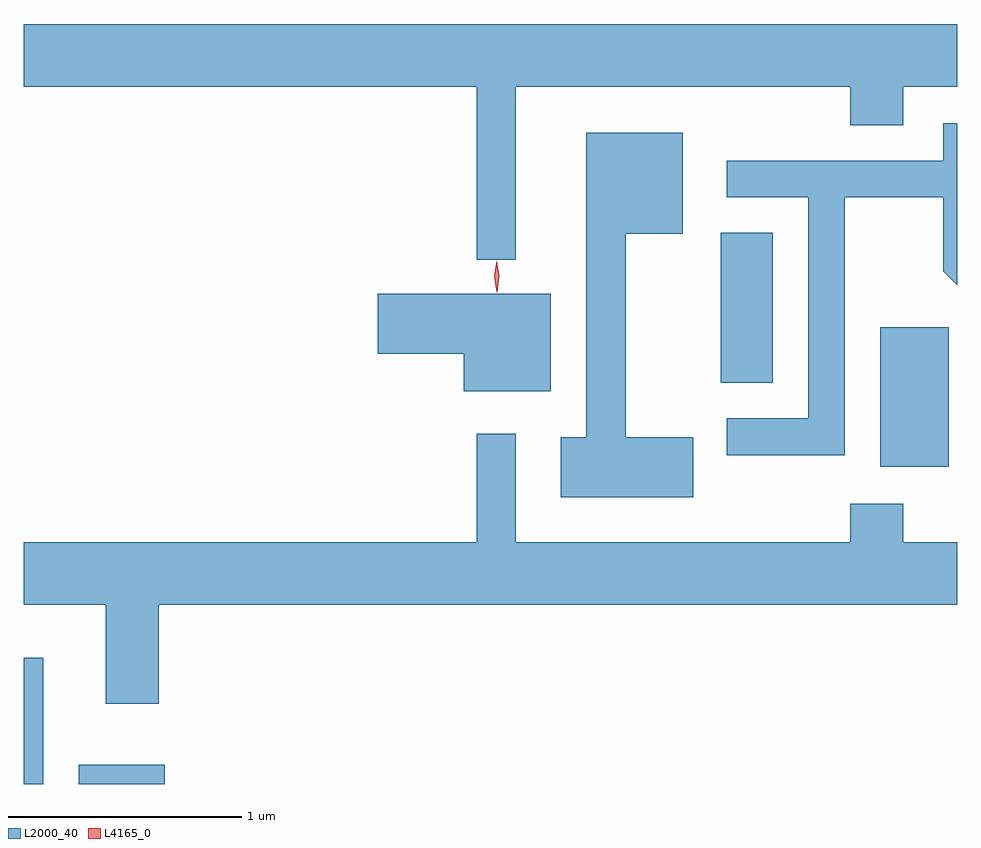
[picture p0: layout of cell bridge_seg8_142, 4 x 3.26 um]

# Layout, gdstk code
import gdstk
lib = gdstk.Library(unit=1e-6, precision=1e-09)
def R(c, l, rs):  # rectangles x0, y0, x1, y1
    for r in rs: c.add(gdstk.rectangle(r[:2], r[2:], *l))
def P(c, l, *ps):  # polygons
    for p in ps: c.add(gdstk.Polygon(p, *l))
L2000_40 = (2000, 40)
L4165_0 = (4165, 0)

bridge_seg8_142 = lib.new_cell('bridge_seg8_142')
R(bridge_seg8_142, L2000_40, [(1789.24,1817.887,1789.324,1818.428), (1789.476,1817.887,1789.844,1817.969), (1792.911,1819.246,1793.204,1819.844), (1792.226,1819.606,1792.449,1820.249)])
P(bridge_seg8_142, L2000_40, [(1791.349,1820.876),(1792.781,1820.876),(1792.781,1820.711),(1793.009,1820.711),(1793.009,1820.876),(1793.24,1820.876),(1793.24,1821.144),(1789.24,1821.144),(1789.24,1820.876),(1791.181,1820.876),(1791.181,1820.133),(1791.349,1820.133)],
  [(1792.759,1820.401),(1793.181,1820.401),(1793.181,1820.084),(1793.24,1820.025),(1793.24,1820.719),(1793.181,1820.719),(1793.181,1820.559),(1792.253,1820.559),(1792.253,1820.401),(1792.601,1820.401),(1792.601,1819.454),(1792.253,1819.454),(1792.253,1819.296),(1792.759,1819.296)],
  [(1792.109,1819.374),(1791.819,1819.374),(1791.819,1820.246),(1792.064,1820.246),(1792.064,1820.679),(1791.651,1820.679),(1791.651,1819.374),(1791.541,1819.374),(1791.541,1819.116),(1792.109,1819.116)],
  [(1791.499,1819.989),(1790.756,1819.989),(1790.756,1819.731),(1791.126,1819.731),(1791.126,1819.571),(1791.499,1819.571)],
  [(1789.819,1818.656),(1793.24,1818.656),(1793.24,1818.924),(1793.009,1818.924),(1793.009,1819.089),(1792.781,1819.089),(1792.781,1818.924),(1791.349,1818.924),(1791.349,1819.388),(1791.181,1819.388),(1791.181,1818.924),(1789.24,1818.924),(1789.24,1818.656),(1789.591,1818.656),(1789.591,1818.231),(1789.819,1818.231)])
P(bridge_seg8_142, L4165_0, [(1791.267,1820),(1791.267,1820),(1791.257,1820.063),(1791.266,1820.126),(1791.267,1820.127),(1791.267,1820.126),(1791.277,1820.063),(1791.268,1820)],
  [(1791.267,1819.994),(1791.267,1819.994),(1791.257,1820.062),(1791.266,1820.13),(1791.267,1820.13),(1791.267,1820.13),(1791.277,1820.062),(1791.268,1819.994)])

lib.write_gds('bridge_seg8_142.gds')
